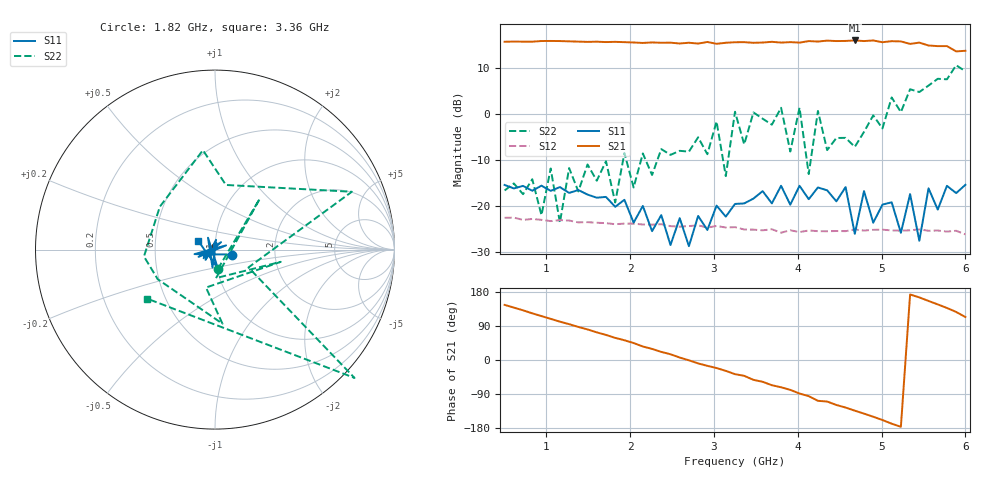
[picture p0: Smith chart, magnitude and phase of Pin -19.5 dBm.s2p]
! RsaToolbox (C) 2015 Rohde & Schwarz America
! Number of points: 51
! Number of ports: 2
! Balanced ports?: No
# Hz S RI R 50
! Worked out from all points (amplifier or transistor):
!   51 points, 500 MHz to 6 GHz, reference 50 ohm
!   highest |S21| = 16.0 dB at 4.68 GHz (marker M1)
!   |S21| within 3 dB of that: start of sweep to end of sweep
!   unconditionally stable (mu >= 1): start of sweep to 3 GHz; 3.047 GHz to 3.219 GHz; 4.295 GHz to 4.787 GHz (the widest 3 of 6)
!   at 1.38 GHz: K = 1.37, MAG = 16.0 dB, |S12| = -23.6 dB
!   at 3.25 GHz: K = 0.08, MSG = 20.1 dB, |S12| = -24.6 dB
!   at 6 GHz: K = -14.80, MSG = 19.9 dB, |S12| = -26.2 dB
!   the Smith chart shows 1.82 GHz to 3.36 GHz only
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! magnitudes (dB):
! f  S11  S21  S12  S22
! 500 MHz  -15.4  15.7  -22.6  -16.6
! 940 MHz  -15.6  15.8  -23.0  -22.0
! 1.05 GHz  -16.7  15.8  -23.3  -11.8
! 1.16 GHz  -15.9  15.8  -23.1  -23.6
! 1.49 GHz  -17.5  15.6  -23.5  -11.0
! 1.82 GHz  -20.2  15.7  -24.0  -19.2
! 1.93 GHz  -18.6  15.6  -23.8  -8.5
! 2.37 GHz  -22.0  15.5  -24.0  -7.6
! 2.7 GHz  -28.7  15.5  -24.4  -8.2
! 3.03 GHz  -19.9  15.2  -24.3  -1.6
! 3.14 GHz  -22.3  15.5  -24.7  -13.5
! 3.25 GHz  -19.5  15.6  -24.6  0.5
! 3.8 GHz  -15.6  15.5  -25.8  1.3
! 3.91 GHz  -19.7  15.6  -25.3  -8.2
! 4.02 GHz  -15.6  15.5  -25.7  1.4
! 4.13 GHz  -18.5  15.8  -25.3  -13.1
! 4.24 GHz  -16.0  15.7  -25.5  0.7
! 4.68 GHz  -26.0  16.0  -25.1  -7.2
! 5.12 GHz  -19.2  15.8  -25.3  3.6
! 5.45 GHz  -27.6  15.5  -25.1  4.8
! 5.56 GHz  -16.2  14.9  -25.4  6.2
! 6 GHz  -15.4  13.7  -26.2  9.3
